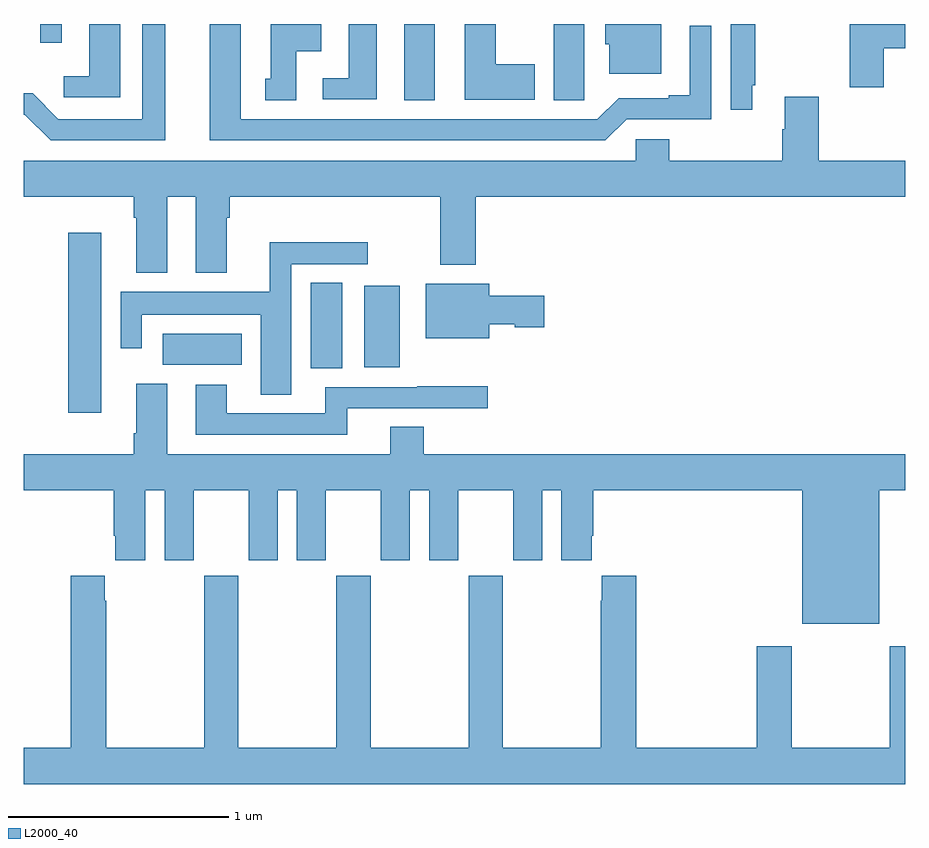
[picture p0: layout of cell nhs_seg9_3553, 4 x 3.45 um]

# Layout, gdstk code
import gdstk
lib = gdstk.Library(unit=1e-6, precision=1e-09)
def R(c, l, rs):  # rectangles x0, y0, x1, y1
    for r in rs: c.add(gdstk.rectangle(r[:2], r[2:], *l))
def P(c, l, *ps):  # polygons
    for p in ps: c.add(gdstk.Polygon(p, *l))
L2000_40 = (2000, 40)

nhs_seg9_3553 = lib.new_cell('nhs_seg9_3553')
R(nhs_seg9_3553, L2000_40, [(313.202,1232.736,313.351,1233.553), (314.303,1232.938,314.446,1233.326), (314.546,1232.942,314.707,1233.313), (313.632,1232.954,313.99,1233.094), (314.726,1234.153,314.866,1234.5), (313.076,1234.416,313.173,1234.5)])
P(nhs_seg9_3553, L2000_40, [(315.735,1234.068),(316.119,1234.068),(316.119,1234.492),(316.022,1234.492),(316.022,1234.177),(315.926,1234.177),(315.926,1234.164),(315.699,1234.164),(315.603,1234.068),(313.984,1234.068),(313.984,1234.5),(313.844,1234.5),(313.844,1233.972),(315.639,1233.972)],
  [(313.438,1234.5),(313.298,1234.5),(313.298,1234.264),(313.182,1234.264),(313.182,1234.167),(313.438,1234.167)],
  [(315.319,1234.317),(315.142,1234.317),(315.142,1234.5),(315.002,1234.5),(315.002,1234.157),(315.319,1234.157)],
  [(314.236,1234.376),(314.35,1234.376),(314.35,1234.5),(314.12,1234.5),(314.12,1234.251),(314.096,1234.251),(314.096,1234.153),(314.236,1234.153)],
  [(313.642,1234.5),(313.538,1234.5),(313.538,1234.068),(313.158,1234.068),(313.041,1234.185),(313,1234.185),(313,1234.089),(313.005,1234.089),(313.122,1233.972),(313.642,1233.972)],
  [(315.892,1234.5),(315.638,1234.5),(315.638,1234.407),(315.656,1234.407),(315.656,1234.274),(315.892,1234.274)],
  [(315.543,1234.264),(315.544,1234.264),(315.544,1234.5),(315.404,1234.5),(315.404,1234.153),(315.543,1234.153)],
  [(316.901,1234.391),(317,1234.391),(317,1234.5),(316.747,1234.5),(316.747,1234.212),(316.901,1234.212)],
  [(314.602,1234.5),(314.474,1234.5),(314.474,1234.254),(314.358,1234.254),(314.358,1234.158),(314.602,1234.158)],
  [(316.306,1234.222),(316.318,1234.222),(316.318,1234.5),(316.209,1234.5),(316.209,1234.11),(316.306,1234.11)],
  [(317,1233.88),(316.607,1233.88),(316.607,1234.171),(316.454,1234.171),(316.454,1234.022),(316.442,1234.022),(316.442,1233.88),(315.929,1233.88),(315.929,1233.978),(315.777,1233.978),(315.777,1233.88),(313,1233.88),(313,1233.716),(313.499,1233.716),(313.499,1233.62),(313.511,1233.62),(313.511,1233.371),(313.651,1233.371),(313.651,1233.716),(313.781,1233.716),(313.781,1233.371),(313.921,1233.371),(313.921,1233.62),(313.934,1233.62),(313.934,1233.716),(314.89,1233.716),(314.89,1233.407),(315.05,1233.407),(315.05,1233.716),(317,1233.716)],
  [(314.215,1233.411),(314.56,1233.411),(314.56,1233.509),(314.117,1233.509),(314.117,1233.286),(313.44,1233.286),(313.44,1233.03),(313.536,1233.03),(313.536,1233.182),(314.075,1233.182),(314.075,1232.818),(314.215,1232.818)],
  [(315.112,1233.137),(315.228,1233.137),(315.228,1233.125),(315.361,1233.125),(315.361,1233.267),(315.112,1233.267),(315.112,1233.322),(314.825,1233.322),(314.825,1233.074),(315.112,1233.074)],
  [(316.882,1232.384),(317,1232.384),(317,1232.548),(314.816,1232.548),(314.816,1232.672),(314.663,1232.672),(314.663,1232.548),(313.651,1232.548),(313.651,1232.869),(313.511,1232.869),(313.511,1232.644),(313.499,1232.644),(313.499,1232.548),(313,1232.548),(313,1232.384),(313.409,1232.384),(313.409,1232.179),(313.415,1232.179),(313.415,1232.067),(313.552,1232.067),(313.552,1232.384),(313.64,1232.384),(313.64,1232.067),(313.771,1232.067),(313.771,1232.384),(314.021,1232.384),(314.021,1232.067),(314.152,1232.067),(314.152,1232.384),(314.24,1232.384),(314.24,1232.067),(314.371,1232.067),(314.371,1232.384),(314.621,1232.384),(314.621,1232.067),(314.752,1232.067),(314.752,1232.384),(314.84,1232.384),(314.84,1232.067),(314.971,1232.067),(314.971,1232.384),(315.221,1232.384),(315.221,1232.067),(315.352,1232.067),(315.352,1232.384),(315.44,1232.384),(315.44,1232.067),(315.577,1232.067),(315.577,1232.179),(315.584,1232.179),(315.584,1232.384),(316.532,1232.384),(316.532,1231.778),(316.882,1231.778)],
  [(314.468,1232.757),(315.106,1232.757),(315.106,1232.856),(314.785,1232.856),(314.785,1232.853),(314.369,1232.853),(314.369,1232.733),(313.921,1232.733),(313.921,1232.863),(313.781,1232.863),(313.781,1232.637),(314.468,1232.637)],
  [(317,1231.678),(316.93,1231.678),(316.93,1231.216),(316.485,1231.216),(316.485,1231.678),(316.325,1231.678),(316.325,1231.216),(315.779,1231.216),(315.779,1231.996),(315.623,1231.996),(315.623,1231.883),(315.619,1231.883),(315.619,1231.216),(315.174,1231.216),(315.174,1231.996),(315.019,1231.996),(315.019,1231.216),(314.574,1231.216),(314.574,1231.996),(314.419,1231.996),(314.419,1231.216),(313.974,1231.216),(313.974,1231.996),(313.819,1231.996),(313.819,1231.216),(313.374,1231.216),(313.374,1231.883),(313.369,1231.883),(313.369,1231.996),(313.214,1231.996),(313.214,1231.216),(313,1231.216),(313,1231.052),(317,1231.052)])

lib.write_gds('nhs_seg9_3553.gds')
